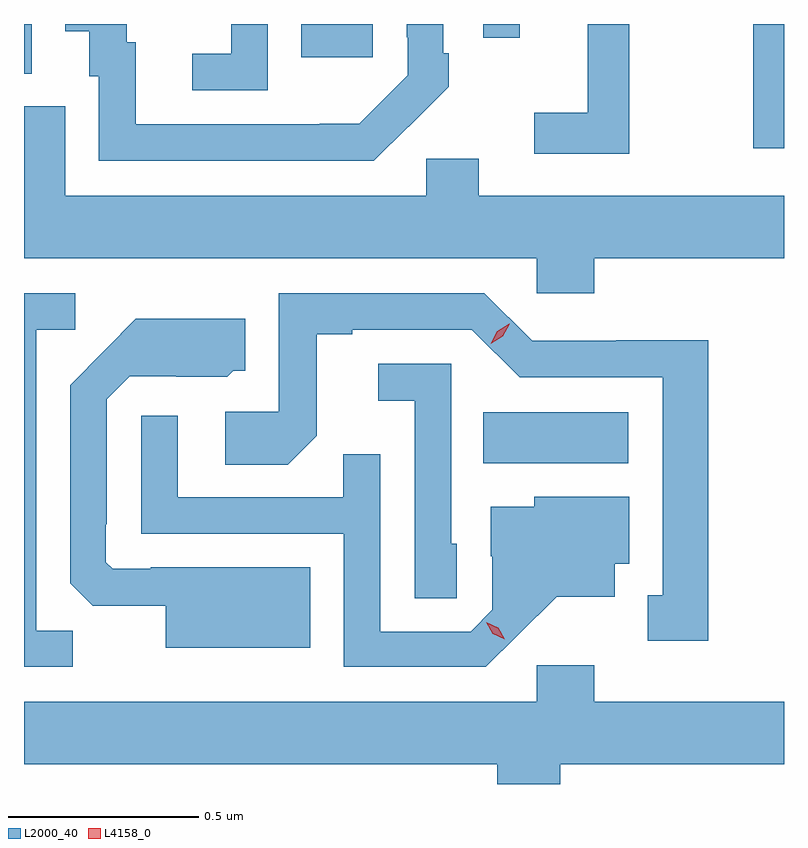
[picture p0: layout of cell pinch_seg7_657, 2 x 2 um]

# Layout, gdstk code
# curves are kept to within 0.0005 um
import gdstk
lib = gdstk.Library(unit=1e-6, precision=1e-09)
def R(c, l, rs):  # rectangles x0, y0, x1, y1
    for r in rs: c.add(gdstk.rectangle(r[:2], r[2:], *l))
def P(c, l, *ps):  # polygons
    for p in ps: c.add(gdstk.Polygon(p, *l))
L2000_40 = (2000, 40)
L4158_0 = (4158, 0)

pinch_seg7_657 = lib.new_cell('pinch_seg7_657')
R(pinch_seg7_657, L2000_40, [(138.478,1024.052,138.859,1024.186), (139.188,1024.881,139.269,1025.208), (137.269,1025.077,137.29,1025.208), (137.999,1025.121,138.187,1025.208), (138.477,1025.172,138.573,1025.208)])
P(pinch_seg7_657, L2000_40, [(138.281,1024.939),(138.282,1024.938),(138.387,1025.043),(138.387,1025.131),(138.372,1025.131),(138.372,1025.208),(138.276,1025.208),(138.276,1025.173),(138.279,1025.173),(138.279,1025.073),(138.151,1024.945),(138.047,1024.945),(138.047,1024.944),(137.563,1024.944),(137.563,1025.16),(137.539,1025.16),(137.539,1025.208),(137.378,1025.208),(137.378,1025.189),(137.441,1025.189),(137.441,1025.07),(137.466,1025.07),(137.466,1024.848),(138.19,1024.848)],
  [(137.91,1025.208),(137.814,1025.208),(137.814,1025.13),(137.712,1025.13),(137.712,1025.034),(137.91,1025.034)],
  [(138.862,1025.208),(138.752,1025.208),(138.752,1024.975),(138.612,1024.975),(138.612,1024.866),(138.862,1024.866)],
  [(138.77,1024.592),(139.269,1024.592),(139.269,1024.756),(138.466,1024.756),(138.466,1024.854),(138.327,1024.854),(138.327,1024.756),(137.377,1024.756),(137.377,1024.992),(137.269,1024.992),(137.269,1024.592),(138.618,1024.592),(138.618,1024.499),(138.77,1024.499)],
  [(137.397,1023.611),(137.301,1023.611),(137.301,1024.404),(137.404,1024.404),(137.404,1024.5),(137.269,1024.5),(137.269,1023.516),(137.397,1023.516)],
  [(139.069,1024.376),(138.828,1024.376),(138.828,1024.374),(138.606,1024.374),(138.48,1024.5),(137.94,1024.5),(137.94,1024.188),(137.799,1024.188),(137.799,1024.048),(137.963,1024.048),(138.039,1024.124),(138.039,1024.392),(138.133,1024.392),(138.133,1024.404),(138.447,1024.404),(138.573,1024.278),(138.95,1024.278),(138.95,1023.705),(138.911,1023.705),(138.911,1023.585),(139.069,1023.585)],
  [(138.022,1023.778),(137.602,1023.778),(137.602,1023.774),(137.502,1023.774),(137.484,1023.792),(137.484,1023.892),(137.487,1023.892),(137.487,1024.221),(137.547,1024.281),(137.67,1024.281),(137.67,1024.28),(137.804,1024.28),(137.82,1024.296),(137.851,1024.296),(137.851,1024.432),(137.563,1024.432),(137.391,1024.258),(137.391,1023.736),(137.45,1023.677),(137.642,1023.677),(137.642,1023.566),(138.022,1023.566)],
  [(138.408,1023.84),(138.393,1023.84),(138.393,1024.314),(138.201,1024.314),(138.201,1024.217),(138.297,1024.217),(138.297,1023.697),(138.408,1023.697)],
  [(138.568,1023.599),(138.671,1023.701),(138.823,1023.701),(138.823,1023.788),(138.862,1023.788),(138.862,1023.964),(138.612,1023.964),(138.612,1023.937),(138.497,1023.937),(138.497,1023.808),(138.501,1023.808),(138.501,1023.666),(138.444,1023.609),(138.207,1023.609),(138.207,1024.076),(138.109,1024.076),(138.109,1023.963),(137.673,1023.963),(137.673,1024.177),(137.577,1024.177),(137.577,1023.867),(138.111,1023.867),(138.111,1023.516),(138.484,1023.516)],
  [(138.68,1023.26),(139.269,1023.26),(139.269,1023.424),(138.77,1023.424),(138.77,1023.52),(138.618,1023.52),(138.618,1023.424),(137.269,1023.424),(137.269,1023.26),(138.515,1023.26),(138.515,1023.208),(138.68,1023.208)])
P(pinch_seg7_657, L4158_0, [(138.497,1024.367),(138.497,1024.367),(138.515,1024.4),(138.546,1024.419),(138.547,1024.419),(138.547,1024.419),(138.529,1024.386),(138.497,1024.367)],
  [(138.534,1023.589),(138.503,1023.604),(138.486,1023.634),(138.486,1023.634),(138.486,1023.634),(138.517,1023.619),(138.534,1023.589),(138.534,1023.589)])

lib.write_gds('pinch_seg7_657.gds')
